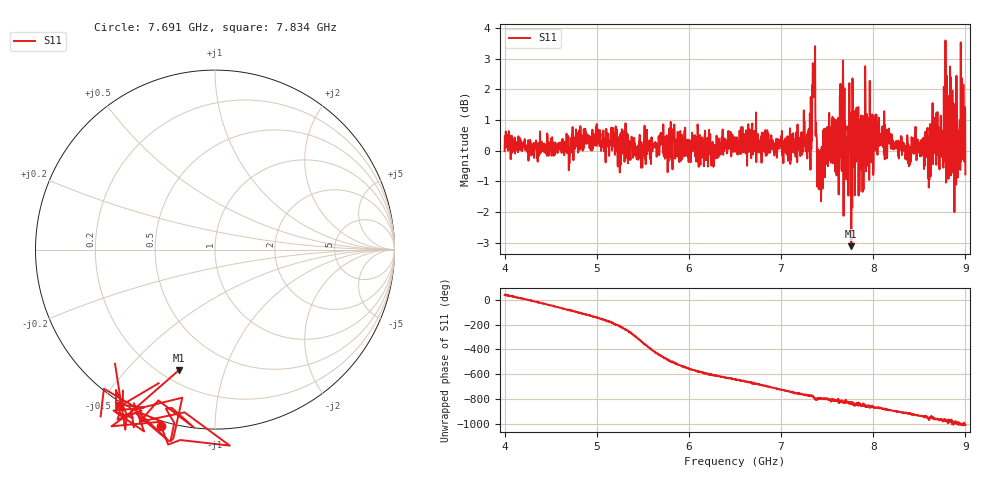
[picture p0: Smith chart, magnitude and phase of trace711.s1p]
! Created with skrf 1.8.0 (http://scikit-rf.org).
# Hz S RI R 50.0
!freq ReS11 ImS11
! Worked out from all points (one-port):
!   1601 points, 4 GHz to 9 GHz, reference 50 ohm
!   lowest |S11| = -3.1 dB at 7.762 GHz (marker M1), VSWR 5.64, Z = 13.6 - j35.5 ohm
!   |S11| at or under -10 dB: nowhere
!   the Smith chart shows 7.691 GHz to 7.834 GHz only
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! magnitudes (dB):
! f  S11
! 4 GHz  0.0
! 4.625 GHz  0.0
! 5.25 GHz  -0.7
! 5.875 GHz  -0.2
! 6.5 GHz  0.0
! 7.125 GHz  0.3
! 7.294 GHz  0.0
! 7.347 GHz  2.7
! 7.362 GHz  2.6
! 7.397 GHz  -0.8
! 7.412 GHz  -0.9
! 7.547 GHz  0.4
! 7.609 GHz  0.0
! 7.662 GHz  -0.2
! 7.703 GHz  -0.7
! 7.75 GHz  0.0
! 7.762 GHz  -3.1
! 7.875 GHz  0.2
! 7.928 GHz  1.2
! 8.038 GHz  0.9
! 8.375 GHz  0.2
! 8.616 GHz  0.9
! 8.656 GHz  0.7
! 8.738 GHz  0.0
! 8.834 GHz  2.7
! 8.9 GHz  -1.1
! 8.972 GHz  0.4
! 9 GHz  -0.8
